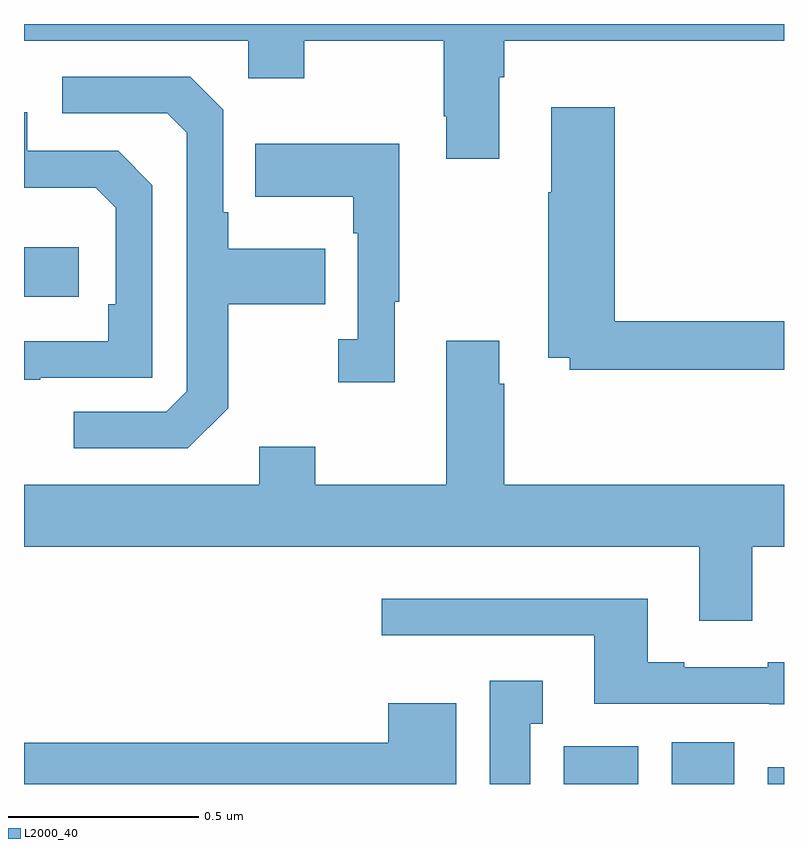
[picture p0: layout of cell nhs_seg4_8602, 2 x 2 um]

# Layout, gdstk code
import gdstk
lib = gdstk.Library(unit=1e-6, precision=1e-09)
def R(c, l, rs):  # rectangles x0, y0, x1, y1
    for r in rs: c.add(gdstk.rectangle(r[:2], r[2:], *l))
def P(c, l, *ps):  # polygons
    for p in ps: c.add(gdstk.Polygon(p, *l))
L2000_40 = (2000, 40)

nhs_seg4_8602 = lib.new_cell('nhs_seg4_8602')
R(nhs_seg4_8602, L2000_40, [(218.421,758.9,218.617,759), (218.705,758.9,218.869,759.01), (218.957,758.9,219,758.944), (217,760.182,217.144,760.312)])
P(nhs_seg4_8602, L2000_40, [(218.251,760.76),(218.264,760.76),(218.264,760.856),(219,760.856),(219,760.9),(217,760.9),(217,760.856),(217.59,760.856),(217.59,760.757),(217.737,760.757),(217.737,760.856),(218.104,760.856),(218.104,760.657),(218.111,760.657),(218.111,760.545),(218.251,760.545)],
  [(217.537,759.889),(217.537,760.162),(217.793,760.162),(217.793,760.309),(217.537,760.309),(217.537,760.405),(217.524,760.405),(217.524,760.674),(217.437,760.761),(217.101,760.761),(217.101,760.665),(217.377,760.665),(217.428,760.614),(217.428,759.933),(217.374,759.879),(217.131,759.879),(217.131,759.783),(217.431,759.783)],
  [(219,760.118),(218.555,760.118),(218.555,760.681),(218.387,760.681),(218.387,760.457),(218.38,760.457),(218.38,760.022),(218.436,760.022),(218.436,759.99),(219,759.99)],
  [(217.043,759.969),(217.338,759.969),(217.338,760.476),(217.248,760.566),(217.008,760.566),(217.008,760.668),(217,760.668),(217,760.469),(217.189,760.469),(217.242,760.416),(217.242,760.162),(217.222,760.162),(217.222,760.065),(217,760.065),(217,759.964),(217.043,759.964)],
  [(217.975,760.169),(217.987,760.169),(217.987,760.585),(217.609,760.585),(217.609,760.445),(217.866,760.445),(217.866,760.349),(217.878,760.349),(217.878,760.07),(217.827,760.07),(217.827,759.957),(217.975,759.957)],
  [(218.917,759.524),(219,759.524),(219,759.688),(218.264,759.688),(218.264,759.953),(218.251,759.953),(218.251,760.066),(218.111,760.066),(218.111,759.688),(217.767,759.688),(217.767,759.787),(217.619,759.787),(217.619,759.688),(217,759.688),(217,759.524),(218.777,759.524),(218.777,759.33),(218.917,759.33)],
  [(219,759.22),(218.957,759.22),(218.957,759.207),(218.737,759.207),(218.737,759.22),(218.641,759.22),(218.641,759.388),(217.941,759.388),(217.941,759.291),(218.501,759.291),(218.501,759.111),(218.961,759.111),(218.961,759.11),(219,759.11)],
  [(218.332,759.059),(218.365,759.059),(218.365,759.172),(218.225,759.172),(218.225,758.9),(218.332,758.9)],
  [(218.137,759.112),(217.958,759.112),(217.958,759.008),(217,759.008),(217,758.9),(218.137,758.9)])

lib.write_gds('nhs_seg4_8602.gds')
